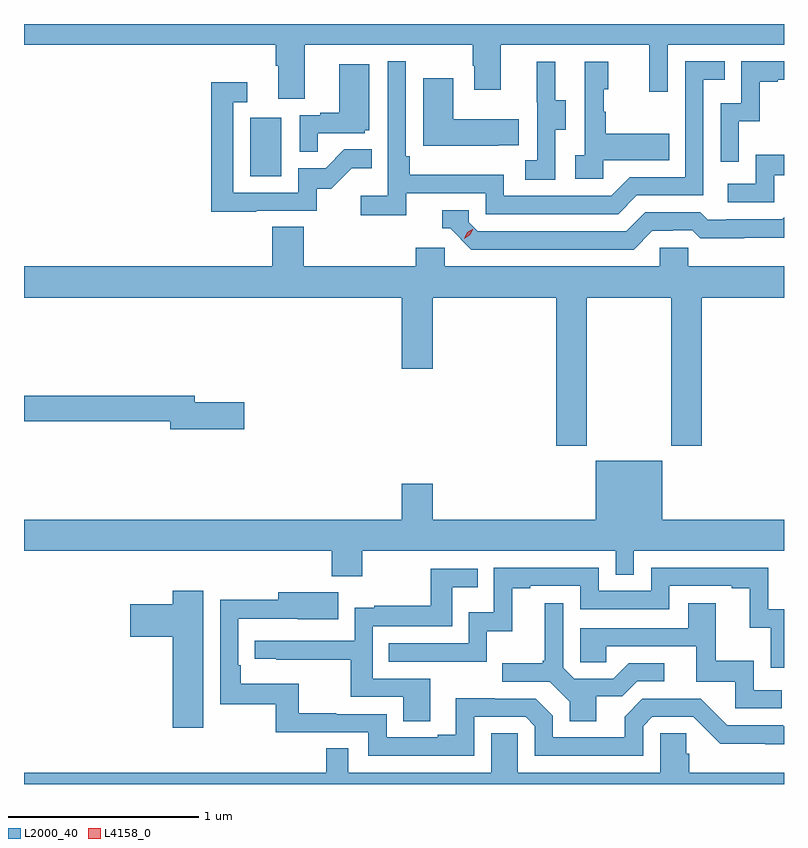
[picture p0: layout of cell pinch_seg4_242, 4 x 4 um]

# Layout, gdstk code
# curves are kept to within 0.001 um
import gdstk
lib = gdstk.Library(unit=1e-6, precision=1e-09)
def R(c, l, rs):  # rectangles x0, y0, x1, y1
    for r in rs: c.add(gdstk.rectangle(r[:2], r[2:], *l))
def P(c, l, *ps):  # polygons
    for p in ps: c.add(gdstk.Polygon(p, *l))
L2000_40 = (2000, 40)
L4158_0 = (4158, 0)

pinch_seg4_242 = lib.new_cell('pinch_seg4_242')
R(pinch_seg4_242, L2000_40, [(895.478,829.428,895.642,829.735)])
P(pinch_seg4_242, L2000_40, [(894.288,830.12),(895.613,830.12),(895.613,830.008),(895.625,830.008),(895.625,829.834),(895.765,829.834),(895.765,830.12),(896.65,830.12),(896.65,830.009),(896.657,830.009),(896.657,829.881),(896.797,829.881),(896.797,830.12),(897.578,830.12),(897.578,829.872),(897.675,829.872),(897.675,830.12),(898.288,830.12),(898.288,830.228),(894.288,830.228)],
  [(896.3,829.338),(896.718,829.338),(896.718,829.227),(897.415,829.227),(897.514,829.326),(897.864,829.326),(897.864,829.935),(897.977,829.935),(897.977,830.031),(897.768,830.031),(897.768,829.422),(897.477,829.422),(897.378,829.323),(896.814,829.323),(896.814,829.435),(896.318,829.435),(896.318,829.531),(896.298,829.531),(896.298,830.032),(896.202,830.032),(896.202,829.324),(896.061,829.324),(896.061,829.222),(896.3,829.222)],
  [(898.05,829.715),(898.16,829.715),(898.16,829.923),(898.255,829.923),(898.255,829.935),(898.288,829.935),(898.288,830.031),(898.062,830.031),(898.062,829.812),(897.954,829.812),(897.954,829.503),(898.05,829.503)],
  [(897.336,829.511),(897.683,829.511),(897.683,829.651),(897.349,829.651),(897.349,829.766),(897.339,829.766),(897.339,829.884),(897.364,829.884),(897.364,830.029),(897.24,830.029),(897.24,829.538),(897.189,829.538),(897.189,829.413),(897.336,829.413)],
  [(897.084,829.672),(897.139,829.672),(897.139,829.827),(897.085,829.827),(897.085,830.029),(896.987,830.029),(896.987,829.815),(896.988,829.815),(896.988,829.511),(896.925,829.511),(896.925,829.408),(897.084,829.408)],
  [(895.835,829.653),(896.082,829.653),(896.082,829.668),(896.104,829.668),(896.104,830.017),(895.946,830.017),(895.946,829.762),(895.847,829.762),(895.847,829.749),(895.74,829.749),(895.74,829.555),(895.835,829.555)],
  [(896.783,829.589),(896.891,829.589),(896.891,829.726),(896.548,829.726),(896.548,829.942),(896.39,829.942),(896.39,829.586),(896.783,829.586)],
  [(895.511,829.245),(895.83,829.245),(895.83,829.362),(895.906,829.362),(896.013,829.469),(896.117,829.469),(896.117,829.568),(895.973,829.568),(895.875,829.47),(895.731,829.47),(895.731,829.341),(895.389,829.341),(895.389,829.815),(895.462,829.815),(895.462,829.921),(895.273,829.921),(895.273,829.24),(895.511,829.24)],
  [(898.236,829.431),(898.288,829.431),(898.288,829.54),(898.14,829.54),(898.14,829.386),(897.993,829.386),(897.993,829.29),(898.236,829.29)],
  [(897.595,829.14),(897.702,829.14),(897.702,829.143),(897.805,829.143),(897.847,829.101),(898.08,829.101),(898.08,829.103),(898.288,829.103),(898.288,829.21),(898.278,829.2),(897.985,829.2),(897.985,829.197),(897.886,829.197),(897.847,829.236),(897.558,829.236),(897.459,829.137),(896.676,829.137),(896.628,829.185),(896.628,829.248),(896.489,829.248),(896.489,829.152),(896.532,829.152),(896.643,829.041),(897.496,829.041)],
  [(897.249,828.788),(897.694,828.788),(897.694,828.009),(897.854,828.009),(897.854,828.788),(898.288,828.788),(898.288,828.952),(897.783,828.952),(897.783,829.05),(897.633,829.05),(897.633,828.952),(896.502,828.952),(896.502,829.05),(896.351,829.05),(896.351,828.952),(895.76,828.952),(895.76,829.16),(895.595,829.16),(895.595,828.952),(894.288,828.952),(894.288,828.788),(896.276,828.788),(896.276,828.414),(896.44,828.414),(896.44,828.788),(897.089,828.788),(897.089,828.009),(897.249,828.009)],
  [(895.447,828.236),(895.186,828.236),(895.186,828.272),(894.288,828.272),(894.288,828.136),(895.058,828.136),(895.058,828.094),(895.447,828.094)],
  [(896.067,827.456),(897.402,827.456),(897.402,827.329),(897.498,827.329),(897.498,827.456),(898.288,827.456),(898.288,827.62),(897.646,827.62),(897.646,827.929),(897.296,827.929),(897.296,827.62),(896.44,827.62),(896.44,827.809),(896.276,827.809),(896.276,827.62),(894.288,827.62),(894.288,827.456),(895.907,827.456),(895.907,827.321),(896.067,827.321)],
  [(898.288,827.148),(898.206,827.148),(898.206,827.367),(897.588,827.367),(897.588,827.244),(897.312,827.244),(897.312,827.367),(896.76,827.367),(896.76,827.131),(896.628,827.131),(896.628,826.968),(896.209,826.968),(896.209,826.872),(896.724,826.872),(896.724,827.033),(896.857,827.033),(896.857,827.259),(896.953,827.259),(896.953,827.271),(897.216,827.271),(897.216,827.148),(897.684,827.148),(897.684,827.271),(898.013,827.271),(898.013,827.259),(898.109,827.259),(898.109,827.051),(898.218,827.051),(898.218,826.839),(898.288,826.839)],
  [(896.425,826.782),(896.124,826.782),(896.124,827.058),(896.541,827.058),(896.541,827.264),(896.675,827.264),(896.675,827.361),(896.43,827.361),(896.43,827.167),(896.131,827.167),(896.131,827.155),(896.028,827.155),(896.028,826.983),(895.503,826.983),(895.503,826.887),(895.615,826.887),(895.615,826.882),(896.008,826.882),(896.008,826.686),(896.285,826.686),(896.285,826.558),(896.425,826.558)],
  [(895.231,827.245),(895.07,827.245),(895.07,827.173),(894.846,827.173),(894.846,827.003),(895.07,827.003),(895.07,826.524),(895.231,826.524)],
  [(896.658,826.581),(896.928,826.581),(896.976,826.533),(896.976,826.377),(897.546,826.377),(897.546,826.533),(897.594,826.581),(897.81,826.581),(897.952,826.439),(898.188,826.439),(898.188,826.437),(898.288,826.437),(898.288,826.533),(898.283,826.533),(898.283,826.536),(897.99,826.536),(897.849,826.677),(897.543,826.677),(897.449,826.583),(897.449,826.473),(897.072,826.473),(897.072,826.587),(896.982,826.677),(896.766,826.677),(896.766,826.679),(896.561,826.679),(896.561,826.486),(896.465,826.486),(896.465,826.473),(896.196,826.473),(896.196,826.596),(895.931,826.596),(895.931,826.601),(895.735,826.601),(895.735,826.756),(895.43,826.756),(895.43,826.852),(895.416,826.852),(895.416,827.097),(895.943,827.096),(895.943,827.236),(895.625,827.236),(895.625,827.198),(895.32,827.198),(895.32,826.647),(895.614,826.647),(895.614,826.5),(896.1,826.5),(896.1,826.377),(896.658,826.377)],
  [(897.301,826.69),(897.436,826.69),(897.516,826.77),(897.658,826.77),(897.658,826.863),(897.47,826.863),(897.389,826.782),(897.183,826.782),(897.126,826.839),(897.126,827.179),(897.029,827.179),(897.029,826.876),(897.018,826.876),(897.018,826.864),(896.805,826.864),(896.805,826.767),(897.054,826.767),(897.161,826.66),(897.161,826.558),(897.301,826.558)],
  [(898.276,826.722),(898.128,826.722),(898.128,826.876),(897.929,826.876),(897.929,827.179),(897.785,827.179),(897.785,827.049),(897.216,827.049),(897.216,826.869),(897.353,826.869),(897.353,826.953),(897.827,826.953),(897.827,826.767),(898.032,826.767),(898.032,826.626),(898.276,826.626)],
  [(898.288,826.288),(897.788,826.288),(897.788,826.386),(897.773,826.386),(897.773,826.496),(897.636,826.496),(897.636,826.288),(896.886,826.288),(896.886,826.496),(896.747,826.496),(896.747,826.288),(895.995,826.288),(895.995,826.415),(895.879,826.415),(895.879,826.288),(894.288,826.288),(894.288,826.228),(898.288,826.228)])
P(pinch_seg4_242, L4158_0, [(896.605,829.099),(896.605,829.099),(896.621,829.131),(896.652,829.15),(896.652,829.15),(896.652,829.15),(896.636,829.118),(896.605,829.099)])

lib.write_gds('pinch_seg4_242.gds')
